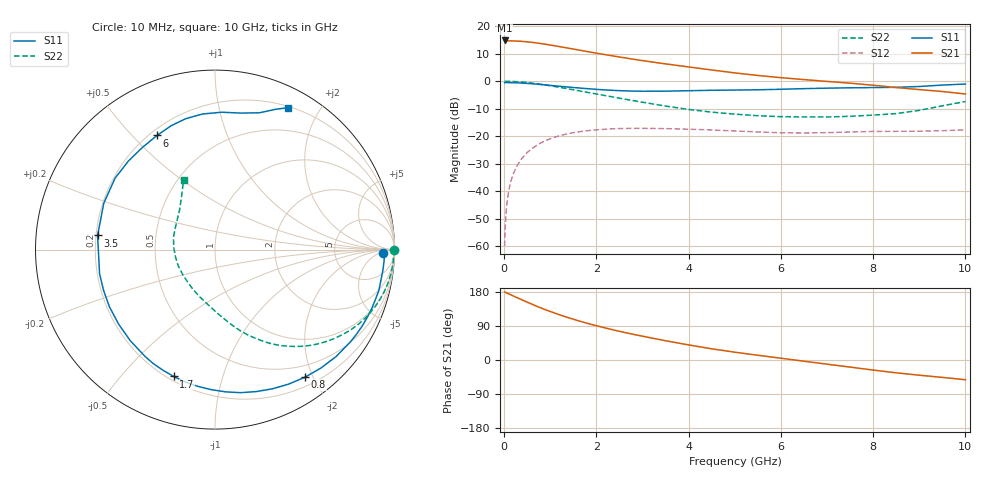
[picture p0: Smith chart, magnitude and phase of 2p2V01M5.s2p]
! (c) 2009  Infineon Technologies AG, Munich
! Infineon Technologies  Discrete & RF Semiconductors
! BFP420
! VCE =  2.0 V,  IC =  1.5 mA
! Common Emitter S-Parameters:  Nov 2009
# GHz  S  MA  R  50
!  f  S11  S21  S12  S22
! GHz  MAG  ANG  MAG  ANG  MAG  ANG  MAG  ANG
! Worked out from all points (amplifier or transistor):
!   46 points, 10 MHz to 10 GHz, reference 50 ohm
!   highest |S21| = 14.8 dB at 10 MHz (marker M1)
!   |S21| within 3 dB of that: start of sweep to 1.456 GHz
!   unconditionally stable (mu >= 1): 4.136 GHz to end of sweep
!   at 300 MHz: K = 0.03, MSG = 22.4 dB, |S12| = -30.2 dB
!   at 1.7 GHz: K = 0.31, MSG = 14.7 dB, |S12| = -18.2 dB
!   at 10 GHz: K = 1.27, MAG = 3.4 dB, |S12| = -17.7 dB
!   lowest NFmin = 0.52 dB at 900 MHz
!   S11 on the Smith chart (normalised r, x): 10 MHz: 28, -10; 800 MHz: 0.32, -1.89; 1.7 GHz: 0.22, -0.70; 3.5 GHz: 0.21, +0.06; 6 GHz: 0.23, +0.59; 10 GHz: 0.21, +1.62
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0.01  0.9388 -1.3  5.51 179.4  0.001 85.9  0.9954 0.0
0.02  0.944 -1.5  5.352 179.2  0.002 86.1  0.996 -0.7
0.05  0.9444 -3.5  5.385 177.3  0.0052 89.5  0.9962 -2.0
0.1  0.9425 -7.0  5.42 174.6  0.0104 86.3  0.9948 -4.1
0.2  0.9408 -13.9  5.405 169.0  0.0207 82.0  0.9884 -8.1
0.35  0.9282 -24.3  5.33 160.7  0.036 75.8  0.9715 -14.1
0.5  0.9122 -34.6  5.197 152.6  0.0504 69.7  0.9459 -19.9
0.7  0.8852 -48.2  4.973 142.2  0.0679 61.8  0.9028 -27.2
0.8  0.8701 -54.7  4.83 137.3  0.0758 58.0  0.8786 -30.6
1  0.8391 -67.5  4.549 128.0  0.09 51.0  0.8267 -37.0
1.2  0.8097 -79.9  4.257 119.3  0.1019 44.5  0.774 -42.9
1.7  0.7432 -108.0  3.591 100.4  0.1228 30.5  0.6507 -55.3
2.2  0.693 -133.0  3.034 84.4  0.1342 19.1  0.5463 -65.2
2.6  0.6689 -151.6  2.674 72.9  0.1383 11.1  0.4744 -72.6
3  0.6571 -168.1  2.371 62.8  0.1391 4.6  0.4148 -79.2
3.5  0.659 173.1  2.066 50.8  0.1373 -2.3  0.353 -88.2
4.5  0.6842 144.5  1.6 29.5  0.1297 -12.1  0.274 -109.0
5.5  0.6983 125.4  1.272 12.5  0.1193 -17.0  0.2359 -130.9
6  0.7135 116.9  1.16 4.7  0.1155 -17.6  0.2267 -143.3
7  0.7476 102.5  0.991 -11.0  0.116 -17.7  0.2236 -168.6
8.5  0.7746 79.1  0.767 -33.8  0.1225 -22.1  0.2577 147.5
10  0.8892 62.8  0.586 -52.0  0.1306 -24.2  0.4269 114.2
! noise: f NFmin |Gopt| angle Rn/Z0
0.9  0.52  0.55  33  0.27
1.8  1.07  0.35  77  0.21
2.4  1.18  0.36  101  0.18
3  1.41  0.36  134  0.13
4  1.68  0.4  -172  0.1
5  2.08  0.44  -130  0.32
6  2.89  0.57  -114  0.39
